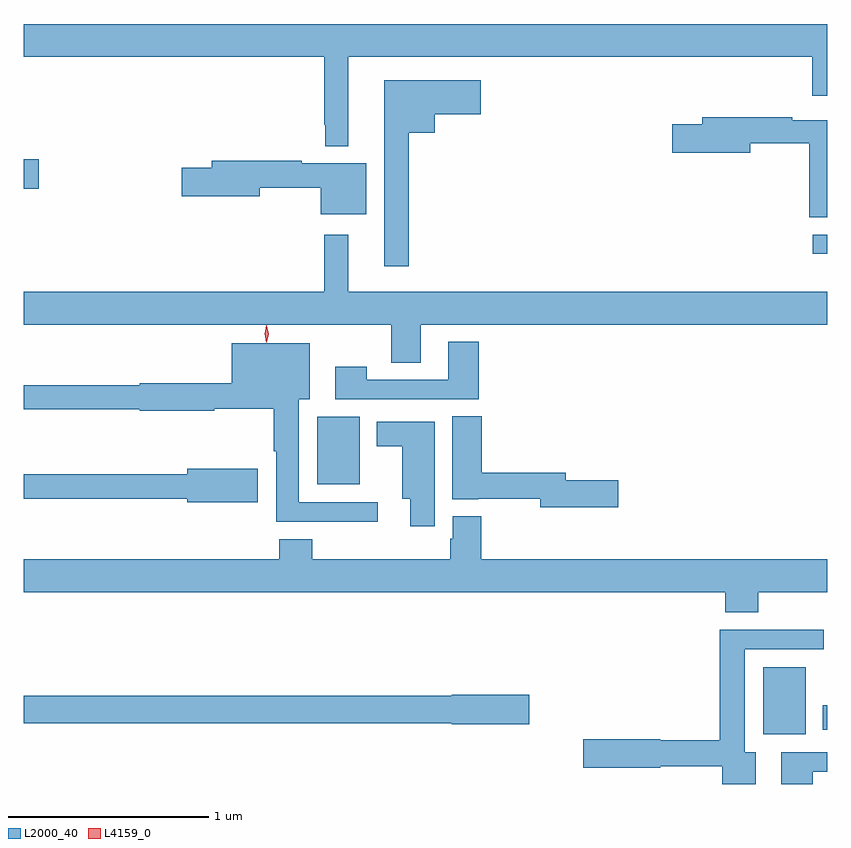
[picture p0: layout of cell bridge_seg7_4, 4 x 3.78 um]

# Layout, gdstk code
import gdstk
lib = gdstk.Library(unit=1e-6, precision=1e-09)
def R(c, l, rs):  # rectangles x0, y0, x1, y1
    for r in rs: c.add(gdstk.rectangle(r[:2], r[2:], *l))
def P(c, l, *ps):  # polygons
    for p in ps: c.add(gdstk.Polygon(p, *l))
L2000_40 = (2000, 40)
L4159_0 = (4159, 0)

bridge_seg7_4 = lib.new_cell('bridge_seg7_4')
R(bridge_seg7_4, L2000_40, [(1038.248,1062.512,1038.46,1062.847), (1038.545,1062.536,1038.567,1062.658), (1036.028,1063.757,1036.24,1064.092), (1038.495,1064.904,1038.567,1065), (1034.567,1065.227,1034.641,1065.374)])
P(bridge_seg7_4, L2000_40, [(1036.183,1065.884),(1038.491,1065.884),(1038.491,1065.69),(1038.567,1065.69),(1038.567,1066.048),(1034.567,1066.048),(1034.567,1065.884),(1036.062,1065.884),(1036.062,1065.547),(1036.068,1065.547),(1036.068,1065.44),(1036.183,1065.44)],
  [(1036.483,1065.506),(1036.612,1065.506),(1036.612,1065.599),(1036.843,1065.599),(1036.843,1065.769),(1036.361,1065.769),(1036.361,1064.841),(1036.483,1064.841)],
  [(1038.567,1065.57),(1038.392,1065.57),(1038.392,1065.583),(1037.945,1065.583),(1037.945,1065.549),(1037.796,1065.549),(1037.796,1065.407),(1038.184,1065.407),(1038.184,1065.454),(1038.476,1065.454),(1038.476,1065.085),(1038.567,1065.085)],
  [(1036.273,1065.355),(1035.95,1065.355),(1035.95,1065.368),(1035.503,1065.368),(1035.503,1065.332),(1035.353,1065.332),(1035.353,1065.19),(1035.742,1065.19),(1035.742,1065.232),(1036.046,1065.232),(1036.046,1065.101),(1036.273,1065.101)],
  [(1036.543,1064.552),(1038.567,1064.552),(1038.567,1064.716),(1036.183,1064.716),(1036.183,1064.998),(1036.062,1064.998),(1036.062,1064.716),(1034.567,1064.716),(1034.567,1064.552),(1036.396,1064.552),(1036.396,1064.362),(1036.543,1064.362)],
  [(1036.832,1064.467),(1036.679,1064.467),(1036.679,1064.277),(1036.275,1064.277),(1036.275,1064.341),(1036.119,1064.341),(1036.119,1064.181),(1036.832,1064.181)],
  [(1036.33,1063.668),(1035.937,1063.668),(1035.937,1064.18),(1035.991,1064.18),(1035.991,1064.458),(1035.602,1064.458),(1035.602,1064.259),(1035.144,1064.259),(1035.144,1064.251),(1034.567,1064.251),(1034.567,1064.13),(1035.144,1064.13),(1035.144,1064.122),(1035.516,1064.122),(1035.516,1064.134),(1035.812,1064.134),(1035.812,1063.921),(1035.824,1063.921),(1035.824,1063.571),(1036.33,1063.571)],
  [(1037.527,1063.778),(1037.266,1063.778),(1037.266,1063.814),(1036.847,1063.814),(1036.847,1064.096),(1036.7,1064.096),(1036.7,1063.682),(1036.83,1063.682),(1036.83,1063.686),(1037.138,1063.686),(1037.138,1063.643),(1037.527,1063.643)],
  [(1036.612,1064.068),(1036.325,1064.068),(1036.325,1063.946),(1036.451,1063.946),(1036.451,1063.685),(1036.49,1063.685),(1036.49,1063.548),(1036.612,1063.548)],
  [(1035.733,1063.833),(1035.38,1063.833),(1035.38,1063.807),(1034.567,1063.807),(1034.567,1063.686),(1035.38,1063.686),(1035.38,1063.667),(1035.733,1063.667)],
  [(1038.224,1063.22),(1038.567,1063.22),(1038.567,1063.384),(1036.844,1063.384),(1036.844,1063.597),(1036.703,1063.597),(1036.703,1063.485),(1036.691,1063.485),(1036.691,1063.384),(1036.004,1063.384),(1036.004,1063.483),(1035.839,1063.483),(1035.839,1063.384),(1034.567,1063.384),(1034.567,1063.22),(1038.059,1063.22),(1038.059,1063.121),(1038.224,1063.121)],
  [(1038.211,1062.424),(1038.157,1062.424),(1038.157,1062.936),(1038.55,1062.936),(1038.55,1063.034),(1038.032,1063.034),(1038.032,1062.482),(1037.736,1062.482),(1037.736,1062.488),(1037.352,1062.488),(1037.352,1062.346),(1037.736,1062.346),(1037.736,1062.354),(1038.044,1062.354),(1038.044,1062.265),(1038.211,1062.265)],
  [(1037.083,1062.71),(1036.698,1062.71),(1036.698,1062.704),(1034.567,1062.704),(1034.567,1062.568),(1036.698,1062.568),(1036.698,1062.563),(1037.083,1062.563)],
  [(1038.495,1062.327),(1038.567,1062.327),(1038.567,1062.423),(1038.339,1062.423),(1038.339,1062.265),(1038.495,1062.265)])
P(bridge_seg7_4, L4159_0, [(1035.775,1064.465),(1035.766,1064.506),(1035.775,1064.547),(1035.775,1064.548),(1035.776,1064.547),(1035.786,1064.506),(1035.776,1064.465),(1035.776,1064.465)])

lib.write_gds('bridge_seg7_4.gds')
